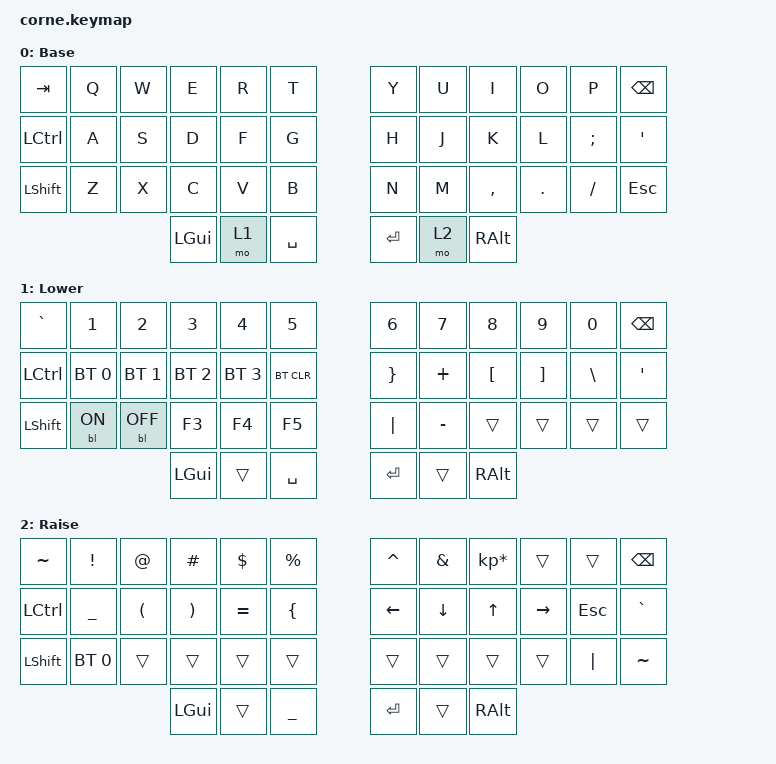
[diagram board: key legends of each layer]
/*
 * Copyright (c) 2020 The ZMK Contributors
 *
 * SPDX-License-Identifier: MIT
 */

#include <behaviors.dtsi>
#include <dt-bindings/zmk/backlight.h>
#include <dt-bindings/zmk/bt.h>
#include <dt-bindings/zmk/keys.h>

/ {
    keymap {
        compatible = "zmk,keymap";

        default_layer {
            // -----------------------------------------------------------------------------------------
            // |  TAB |  Q  |  W  |  E  |  R  |  T  |   |  Y  |  U   |  I  |  O  |  P  | BKSP |
            // | CTRL |  A  |  S  |  D  |  F  |  G  |   |  H  |  J   |  K  |  L  |  ;  |  '   |
            // | SHFT |  Z  |  X  |  C  |  V  |  B  |   |  N  |  M   |  ,  |  .  |  /  | ESC  |
            //                    | GUI | LWR | SPC |   | ENT | RSE  | ALT |

            display-name = "Base";
            bindings = <
&kp TAB    &kp Q  &kp W  &kp E     &kp R  &kp T        &kp Y    &kp U  &kp I      &kp O    &kp P     &kp BSPC
&kp LCTRL  &kp A  &kp S  &kp D     &kp F  &kp G        &kp H    &kp J  &kp K      &kp L    &kp SEMI  &kp SQT
&kp LSHFT  &kp Z  &kp X  &kp C     &kp V  &kp B        &kp N    &kp M  &kp COMMA  &kp DOT  &kp FSLH  &kp ESC
                         &kp LGUI  &mo 1  &kp SPACE    &kp RET  &mo 2  &kp RALT
            >;
        };

        lower_layer {
            // -----------------------------------------------------------------------------------------
            // |  TAB |  1  |  2  |  3  |  4  |  5  |   |  6  |  7  |  8  |  9  |  0  | BKSP |
            // | BTCLR| BT1 | BT2 | BT3 | BT4 | BT5 |   | LFT | DWN |  UP | RGT |     |      |
            // | SHFT |     |     |     |     |     |   |     |     |     |     |     |      |
            //                    | GUI |     | SPC |   | ENT |     | ALT |

            display-name = "Lower";
            bindings = <
&kp GRAVE  &kp N1        &kp N2        &kp N3        &kp N4        &kp N5        &kp N6           &kp N7     &kp N8            &kp N9             &kp N0         &kp BSPC
&kp LCTRL  &bt BT_SEL 0  &bt BT_SEL 1  &bt BT_SEL 2  &bt BT_SEL 3  &bt BT_CLR    &kp RIGHT_BRACE  &kp PLUS   &kp LEFT_BRACKET  &kp RIGHT_BRACKET  &kp BACKSLASH  &kp SQT
&kp LSHFT  &bl BL_ON     &bl BL_OFF    &kp F3        &kp F4        &kp F5        &kp PIPE         &kp MINUS  &trans            &trans             &trans         &trans
                                       &kp LGUI      &trans        &kp SPACE     &kp RET          &trans     &kp RALT
            >;
        };

        raise_layer {
            // -----------------------------------------------------------------------------------------
            // |  TAB |  !  |  @  |  #  |  $  |  %  |   |  ^  |  &  |  *  |  (  |  )  | BKSP |
            // | CTRL |     |     |     |     |     |   |  -  |  =  |  [  |  ]  |  \  |  `   |
            // | SHFT |     |     |     |     |     |   |  _  |  +  |  {  |  }  | "|" |  ~   |
            //                    | GUI |     | SPC |   | ENT |     | ALT |

            display-name = "Raise";
            bindings = <
&kp TILDE  &kp EXCL        &kp AT                &kp HASH               &kp DLLR   &kp PRCNT         &kp CARET  &kp AMPS  &kp KP_MULTIPLY  &trans     &trans      &kp BSPC
&kp LCTRL  &kp UNDERSCORE  &kp LEFT_PARENTHESIS  &kp RIGHT_PARENTHESIS  &kp EQUAL  &kp LEFT_BRACE    &kp LEFT   &kp DOWN  &kp UP_ARROW     &kp RIGHT  &kp ESCAPE  &kp GRAVE
&kp LSHFT  &bt BT_SEL 0    &trans                &trans                 &trans     &trans            &trans     &trans    &trans           &trans     &kp PIPE    &kp TILDE
                                                 &kp LGUI               &trans     &kp UNDERSCORE    &kp RET    &trans    &kp RALT
            >;
        };

        extra_1 { status = "reserved"; };

        extra_2 { status = "reserved"; };

        extra_3 { status = "reserved"; };
    };
};
